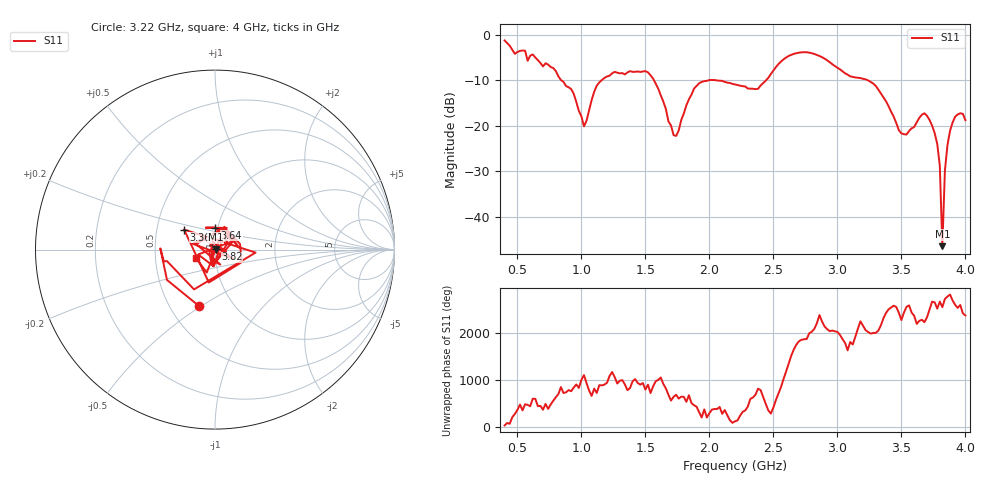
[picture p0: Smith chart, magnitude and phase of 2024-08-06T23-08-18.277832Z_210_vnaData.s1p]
!Created with skrf (http://scikit-rf.org).
# Hz S RI R 50.0
!freq ReS11 ImS11
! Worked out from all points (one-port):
!   181 points, 400 MHz to 4 GHz, reference 50 ohm
!   lowest |S11| = -46.5 dB at 3.82 GHz (marker M1), VSWR 1.01, Z = 50.4 + j0.174 ohm
!   |S11| at or under -10 dB: 1.568 GHz to 1.989 GHz (421.8 MHz wide, 23.7 % of centre); 2.059 GHz to 2.441 GHz (382 MHz wide, 17 % of centre); 3.24 GHz to end of sweep (the widest 3 of 4)
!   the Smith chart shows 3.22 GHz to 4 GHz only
!   S11 on the Smith chart (normalised r, x): 3.22 GHz: 0.69, -0.48; 3.36 GHz: 0.69, +0.16; 3.64 GHz: 0.97, +0.24; 3.82 GHz: 1.01, +0.00; 4 GHz: 0.81, -0.08
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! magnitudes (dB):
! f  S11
! 400 MHz  -1.2
! 860 MHz  -10.3
! 940 MHz  -12.9
! 1.02 GHz  -20.1
! 1.12 GHz  -11.1
! 1.3 GHz  -8.4
! 1.52 GHz  -8.2
! 1.6 GHz  -11.8
! 1.72 GHz  -22.0
! 1.76 GHz  -21.0
! 1.92 GHz  -10.6
! 2.2 GHz  -10.9
! 2.38 GHz  -11.8
! 2.66 GHz  -4.1
! 3.1 GHz  -9.1
! 3.22 GHz  -9.8
! 3.36 GHz  -13.8
! 3.48 GHz  -20.9
! 3.56 GHz  -21.1
! 3.64 GHz  -18.2
! 3.7 GHz  -17.8
! 3.78 GHz  -24.0
! 3.8 GHz  -28.7
! 3.82 GHz  -46.5
! 3.84 GHz  -29.8
! 3.88 GHz  -21.1
! 3.94 GHz  -17.5
! 4 GHz  -18.7
